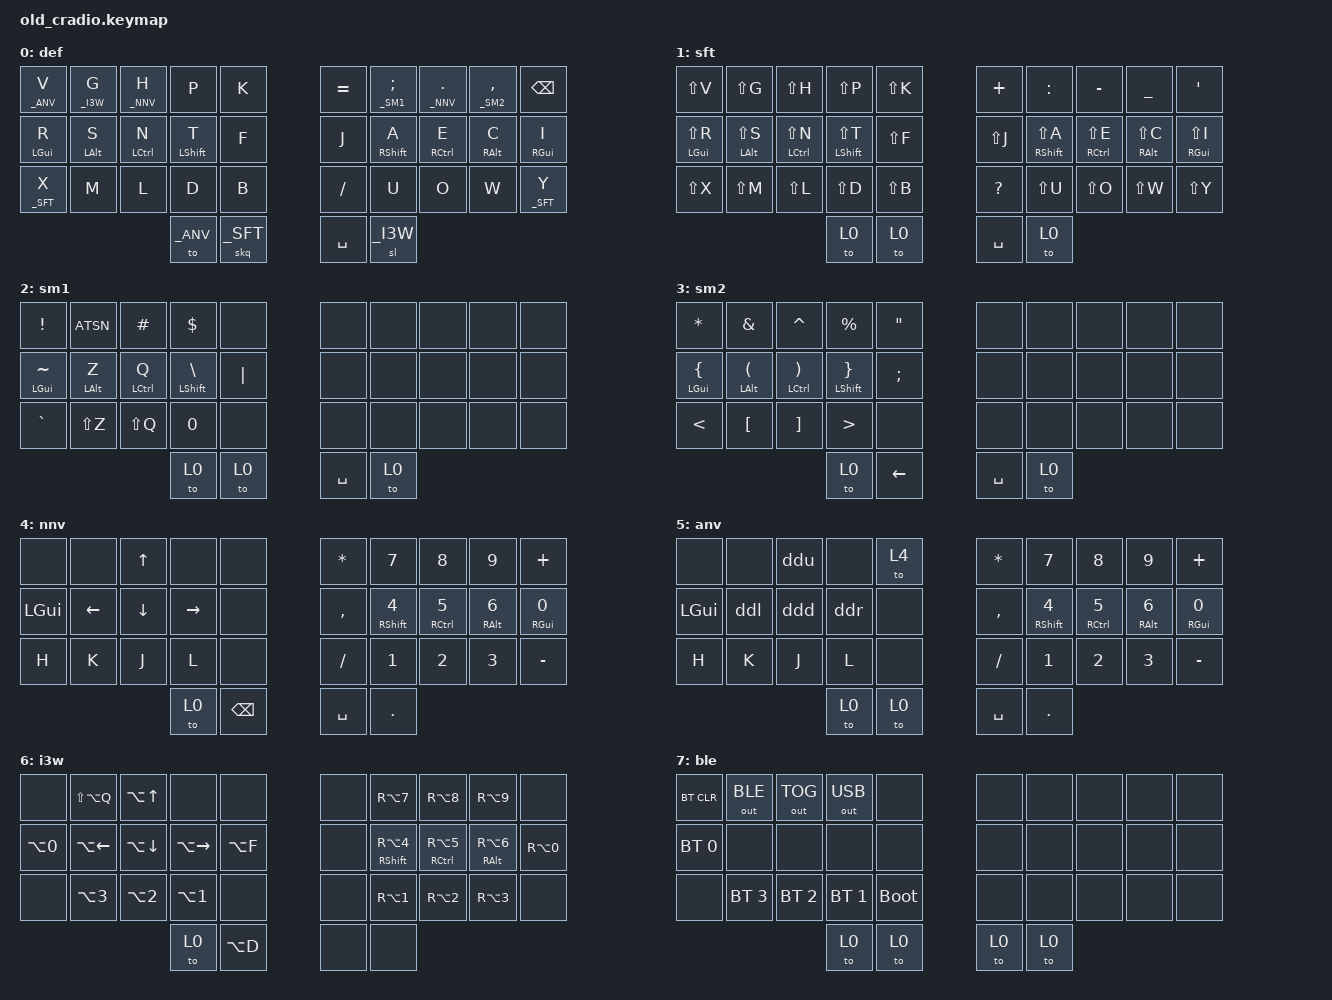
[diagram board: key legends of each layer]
/*
 * Copyright (c) 2020 The ZMK Contributors
 *
 * SPDX-License-Identifier: MIT
 */

#include <behaviors.dtsi>
#include <dt-bindings/zmk/keys.h>
#include <dt-bindings/zmk/bt.h>
#include <dt-bindings/zmk/outputs.h>

#define _DEF 0
#define _SFT 1
#define _SM1 2
#define _SM2 3
#define _NNV 4
#define _ANV 5
#define _I3W 6
#define _BLE 7

#define _L_KEYS 0 1 2 3 4 10 11 12 13 14 20 21 22 23 24 30 31
#define _R_KEYS 5 6 7 8 9 15 16 17 18 19 25 26 27 28 29 32 33

/ { 
    macros {
        ddu: ddu {
            label = "direction_default_u";
            compatible = "zmk,behavior-macro";
            #binding-cells = <0>;
            bindings
                = <&macro_tap &kp UP>
                , <&macro_tap &to _DEF>
                ;
        };

        ddd: ddd {
            label = "direction_default_d";
            compatible = "zmk,behavior-macro";
            #binding-cells = <0>;
            bindings
                = <&macro_tap &kp DOWN>
                , <&macro_tap &to _DEF>
                ;
        };

        ddl: ddl {
            label = "direction_default_l";
            compatible = "zmk,behavior-macro";
            #binding-cells = <0>;
            bindings
                = <&macro_tap &kp LEFT>
                , <&macro_tap &to _DEF>
                ;
        };

        ddr: ddr {
            label = "direction_default_r";
            compatible = "zmk,behavior-macro";
            #binding-cells = <0>;
            bindings
                = <&macro_tap &kp RIGHT>
                , <&macro_tap &to _DEF>
                ;
        };

        af4: af4 {
            label = "alt_f_4";
            compatible = "zmk,behavior-macro";
            #binding-cells = <0>;
            bindings
                = <&macro_press &kp LALT>
                , <&macro_tap &kp F4>
                , <&macro_release &kp LALT>
                ;
        };

        ctrlz: ctrlz {
            label = "ctrl_z";
            compatible = "zmk,behavior-macro";
            #binding-cells = <0>;
            bindings
                = <&macro_press &kp LCTRL>
                , <&macro_tap &kp Z>
                , <&macro_release &kp LCTRL>
                ;
        };

        cszz: cszz {
            label = "ctrl_shft_zz";
            compatible = "zmk,behavior-macro";
            #binding-cells = <0>;
            bindings
                = <&macro_press &kp LCTRL>
                , <&macro_press &kp LSHFT>
                , <&macro_tap &kp Z>
                , <&macro_tap &kp Z>
                , <&macro_release &kp LSHFT>
                , <&macro_release &kp LCTRL>
                ;
        };

        cszq: cszq {
            label = "ctrl_shft_zq";
            compatible = "zmk,behavior-macro";
            #binding-cells = <0>;
            bindings
                = <&macro_press &kp LCTRL>
                , <&macro_press &kp LSHFT>
                , <&macro_tap &kp Z>
                , <&macro_tap &kp Q>
                , <&macro_release &kp LSHFT>
                , <&macro_release &kp LCTRL>
                ;
        };

        asv: asv {
            label = "append_semicolon_vim";
            compatible = "zmk,behavior-macro";
            #binding-cells = <0>;
            bindings
                = <&macro_tap &kp ESC>
                , <&macro_tap &kp LS(A)>
                , <&macro_tap &kp SEMI>
                , <&macro_tap &kp ESC>
                ;
        };

    };

    behaviors {
        hm: homerow_mods {
            compatible = "zmk,behavior-hold-tap";
            label = "HOMEROW_MODS";
            #binding-cells = <2>;
            tapping-term-ms = <300>;
            quick_tap_ms = <300>;
            flavor = "tap-preferred";
            bindings = <&kp>, <&kp>;
        };
        
        la: layer_access {
            compatible = "zmk,behavior-hold-tap";
            label = "LAYER_ACCESS";
            #binding-cells = <2>;
            tapping-term-ms = <1200>;
            quick_tap_ms = <600>;
            flavor = "balanced";
            bindings = <&mo>, <&kp>;
        };

        la_l: layer_access_left {
            compatible = "zmk,behavior-hold-tap";
            label = "LAYER_ACCESS_LEFT";
            #binding-cells = <2>;
            tapping-term-ms = <1200>;
            quick_tap_ms = <300>;
            flavor = "balanced";
            bindings = <&mo>, <&kp>;
            hold-trigger-key-positions = <_R_KEYS>;
        };

        la_l_anv: layer_access_left_anv {
            compatible = "zmk,behavior-hold-tap";
            label = "LAYER_ACCESS_LEFT_ANV";
            #binding-cells = <2>;
            tapping-term-ms = <1200>;
            quick_tap_ms = <300>;
            flavor = "balanced";
            bindings = <&to>, <&kp>;
            hold-trigger-key-positions = <_R_KEYS>;
        };

        la_r: layer_access_right {
            compatible = "zmk,behavior-hold-tap";
            label = "LAYER_ACCESS_RIGHT";
            #binding-cells = <2>;
            tapping-term-ms = <1200>;
            quick_tap_ms = <300>;
            flavor = "hold-preferred";
            bindings = <&mo>, <&kp>;
            hold-trigger-key-positions = <_L_KEYS>;
        };

        tdasv: tap_dance_append_semicolon_vim {
            compatible = "zmk,behavior-tap-dance";
            label = "TAP_DANCE_APPEND_SEMICOLON_VIM";
            #binding-cells = <0>;
            tapping-term-ms = <200>;
            bindings = <&kp SEMI>, <&asv>;
        };

        ht_sft: hold_tap_sft {
            compatible = "zmk,behavior-hold-tap";
            label = "HOLD_TAP_SFT";
            #binding-cells = <2>;
            tapping-term-ms = <1200>;
            quick_tap_ms = <1200>;
            flavor = "hold-preferred";
            bindings = <&sl>, <&to>;
        };

      skq: sticky_key_quick_release {
        compatible = "zmk,behavior-sticky-key";
        label = "STICKY_KEY_QUICK_RELEASE";
        #binding-cells = <1>;
        bindings = <&sl>;
        release-after-ms = <1000>;
        quick-release;
      };

/*
      slq: sticky_layer_quick_release {
        compatible = "zmk,behavior-sticky-layer";
        label = "STICKY_KEY_QUICK_RELEASE";
        #binding-cells = <1>;
        bindings = <&sl>;
        release-after-ms = <1000>;
        quick-release;
      };
*/

    };

    combos {
        compatible = "zmk,combos";

        combo_home_layer {
            timeout-ms = <250>;
            key-positions = <31 32>;
            bindings = <&to _DEF>;
        };

        combo_esc {
            timeout-ms = <50>;
            key-positions = <21 22>;
            bindings = <&kp ESC>;
            layers = <_DEF>;
        };
        
         combo_tab {
            timeout-ms = <210>;
            key-positions = <6 8>;
            bindings = <&kp TAB>;
            layers = <_DEF>;
        };
               
        combo_delete {
            timeout-ms = <300>;
            key-positions = <8 9>;
            bindings = <&kp DEL>;
            layers = <_DEF>;
        };

        combo_enter {
            timeout-ms = <210>;
            key-positions = <7 8>;
            bindings = <&kp ENTER>;
            layers = <_DEF>;
        };

        combo_caps_layer {
            timeout-ms = <300>;
            key-positions = <30 33>;
            bindings = <&to _SFT>;
            layers = <_DEF>;
        };

        combo_ble_layer {
            timeout-ms = <300>;
            key-positions = <20 9>;
            bindings = <&to _BLE>;
            layers = <_DEF>;
        };

        combo_cz {
            timeout-ms = <300>;
            key-positions = <11 30>;
            bindings = <&ctrlz>;
            layers = <_DEF>;
        };

    };

    keymap {
            compatible = "zmk,keymap";
            
        def {
    bindings = <
    &la_l_anv _ANV V &la_l _I3W G &la_l _NNV H &kp P &kp K  &kp EQUAL &la_r _SM1 SEMI &la_r _NNV DOT &la_r _SM2 COMMA &kp BSPC 
    &hm LGUI R &hm LALT S &hm LCTRL N &hm LSHFT T &kp F 	&kp J &hm RSHFT A &hm RCTRL E &hm RALT C &hm RGUI I
    &la_l _SFT X &kp M &kp L &kp D &kp B				    &kp FSLH &kp U  &kp O &kp W &la_r _SFT Y
                    &to _ANV   &skq _SFT                    &kp SPC &sl _I3W
    >;
    };

        sft {
    bindings = <
    &kp LS(V) &kp LS(G) &kp LS(H) &kp LS(P) &kp LS(K)                           &kp PLUS &kp COLON &kp MINUS &kp UNDER &kp SQT
    &hm LGUI LS(R) &hm LALT LS(S) &hm LCTRL LS(N) &hm LSHFT LS(T) &kp LS(F)     &kp LS(J) &hm RSHFT LS(A) &hm RCTRL LS(E) &hm RALT LS(C) &hm RGUI LS(I)
    &kp LS(X) &kp LS(M) &kp LS(L) &kp LS(D) &kp LS(B)                           &kp QMARK &kp LS(U)  &kp LS(O) &kp LS(W) &kp LS(Y)
                    &to 0      &to 0  				                            &kp SPC &to 0 
    >;
    };

        sm1 {
    bindings = <
    &kp EXCL  &kp ATSN  &kp HASH  &kp DLLR  &none                           &none &none &none &none &none
    &hm LGUI TILDE  &hm LALT Z  &hm LCTRL Q  &hm LSHFT BSLH  &kp PIPE       &none &none &none &none &none
    &kp GRAVE  &kp LS(Z)  &kp LS(Q)  &kp N0  &none  	                    &none &none &none &none &none
                                            &to 0  &to 0                    &kp SPC &to 0 
    >;
    };	

        sm2 {
    bindings = <
    &kp STAR  &kp AMPS  &kp CARET  &kp PRCNT  &kp DQT                           &none &none &none &none &none
    &hm LGUI LBRC  &hm LALT LPAR  &hm LCTRL RPAR  &hm LSHFT RBRC  &kp SEMI      &none &none &none &none &none
    &kp LT  &kp LBKT  &kp RBKT  &kp GT  &none  	                                &none &none &none &none &none
                                            &to 0  &kp LEFT                     &kp SPC &to 0 
    >;
    };	

        nnv {
    bindings = <
    &none &none &kp UP &none &none                          &kp STAR    &kp N7 &kp N8 &kp N9 &kp PLUS
    &kp LGUI &kp LEFT &kp DOWN &kp RIGHT &none              &kp COMMA   &hm RSHFT N4 &hm RCTRL N5 &hm RALT N6 &hm RGUI N0
    &kp H &kp K &kp J &kp L &none                           &kp FSLH    &kp N1 &kp N2 &kp N3 &kp MINUS
                        &to 0 &kp BSPC                      &kp SPC &kp DOT
    >;
    };

        anv {
    bindings = <
    &none &none &ddu &none &to 4                          &kp STAR    &kp N7 &kp N8 &kp N9 &kp PLUS
    &kp LGUI &ddl &ddd &ddr &none              &kp COMMA   &hm RSHFT N4 &hm RCTRL N5 &hm RALT N6 &hm RGUI N0
    &kp H &kp K &kp J &kp L &none                            &kp FSLH    &kp N1 &kp N2 &kp N3 &kp MINUS
                        &to 0 &to 0                         &kp SPC &kp DOT
    >;
    };

        i3w {
    bindings = <
    &none &kp LS(LA(Q)) &kp LA(UP) &none &none                   &none &kp RA(N7)       &kp RA(N8)       &kp RA(N9)      &none
    &kp LA(N0) &kp LA(LEFT) &kp LA(DOWN) &kp LA(RIGHT) &kp LA(F) &none &hm RSHFT RA(N4) &hm RCTRL RA(N5) &hm RALT RA(N6) &kp RA(N0)
    &none &kp LA(N3) &kp LA(N2) &kp LA(N1) &none                 &none &kp RA(N1)       &kp RA(N2)       &kp RA(N3)      &none
                    &to 0      &kp LA(D)		                 &none &none 
    >;
    };

        ble {
    bindings = <
    &bt BT_CLR &out OUT_BLE &out OUT_TOG &out OUT_USB &none           &none &none &none &none &none 
    &bt BT_SEL 0 &none &none &none &none                                &none &none &none &none &none 
    &none &bt BT_SEL 3 &bt BT_SEL 2 &bt BT_SEL 1 &bootloader            &none &none &none &none &none 
                        &to 0 &to 0                                     &to 0 &to 0
    >;
    };

	};
};
